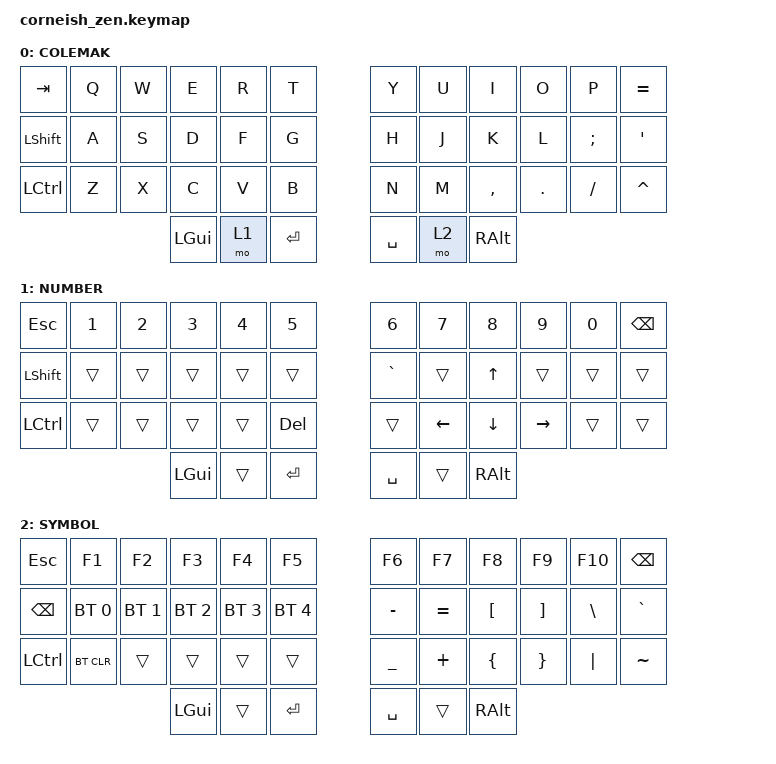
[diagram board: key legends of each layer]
#include <behaviors.dtsi>
#include <dt-bindings/zmk/keys.h>
#include <dt-bindings/zmk/bt.h>

/ {
  chosen {
    zmk,matrix_transform = &default_transform;
    //zmk,matrix_transform = &five_column_transform;
  };
};

/ {
        keymap {
                compatible = "zmk,keymap";

                default_layer {
                        label = "COLEMAK";
// -----------------------------------------------------------------------------------------
// |  TAB |  Q  |  W  |  E  |  R  |  T  |   |  Y  |  U   |  I  |  O  |  P  |  =  |
// | SHFT |  A  |  S  |  D  |  F  |  G  |   |  H  |  J   |  K  |  L  |  ;  |  '  |
// | CTRL |  Z  |  X  |  C  |  V  |  B  |   |  N  |  M   |  ,  |  .  |  /  |  ^  |
//                    | GUI | LWR | SPC |   | ENT | RSE  | ALT |
                        bindings = <
   &kp TAB   &kp Q &kp W &kp E &kp R &kp T   &kp Y &kp U  &kp I     &kp O   &kp P    &kp EQUAL
   &kp LSHFT &kp A &kp S &kp D &kp F &kp G   &kp H &kp J  &kp K     &kp L   &kp SEMI &kp SQT
   &kp LCTRL &kp Z &kp X &kp C &kp V &kp B   &kp N &kp M  &kp COMMA &kp DOT &kp FSLH &kp CARET
                         &kp LGUI &mo 1 &kp RET    &kp SPACE &mo 2 &kp RALT
                        >;
                };
                lower_layer {
                        label = "NUMBER";
// -----------------------------------------------------------------------------------------
// |  ESC |  1  |  2  |  3  |  4  |  5  |   |  6  |  7  |  8  |  9  |  0  | BKSP |
// | SHFT |     |     |     |     |     |   |  `  |     |  UP |     |     |      |
// | CTRL |     |     |     |     | DEL |   |     | LFT | DWN | RGT |     |      |
//                    | GUI |     | ENT |   | SPC |     | ALT |
                        bindings = <
   &kp ESC    &kp N1  &kp N2   &kp N3   &kp N4   &kp N5        &kp N6     &kp N7   &kp N8    &kp N9    &kp N0 &kp BSPC
   &kp LSHFT  &trans  &trans   &trans   &trans   &trans        &kp GRAVE  &trans   &kp UP    &trans    &trans &trans
   &kp LCTRL  &trans  &trans   &trans   &trans   &kp DEL       &trans     &kp LEFT &kp DOWN  &kp RIGHT &trans &trans
                               &kp LGUI &trans   &kp RET       &kp SPACE  &trans   &kp RALT
                        >;
                };

                raise_layer {
                        label = "SYMBOL";
// -----------------------------------------------------------------------------------------
// |  ESC |  F1 |  F2 |  F3 |  F4 |  F5 |   |  F6 |  F7 |  F8 |  F9  |  F10  | BKSP |
// | BKSP | BT1 | BT2 | BT3 | BT4 | BT5 |   |  -  |  =  |  [  |  ]  |  \  |  `   |
// | CTRL | BTCRL |   |     |     |     |   |  _  |  +  |  {  |  }  | "|" |  ~   |
//                    | GUI |     | ENT |   | SPC |     | ALT |
                        bindings = <
   &kp ESC    &kp F1  &kp F2  &kp F3  &kp F4 &kp F5                                 &kp F6  &kp  F7   &kp F8  &kp F9  &kp F10  &kp BSPC
   &kp BSPC   &bt BT_SEL 0 &bt BT_SEL 1 &bt BT_SEL 2 &bt BT_SEL 3 &bt BT_SEL 4      &kp MINUS  &kp  EQUAL  &kp LBKT         &kp RBKT  &kp BSLH  &kp GRAVE
   &kp LCTRL  &bt BT_CLR  &trans  &trans  &trans  &trans                            &kp UNDER  &kp  PLUS   &kp LBRC         &kp RBRC  &kp PIPE  &kp TILDE
                    	     &kp LGUI &trans   &kp RET                              &kp SPACE   &trans    &kp RALT
                        >;
                };
        };
};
